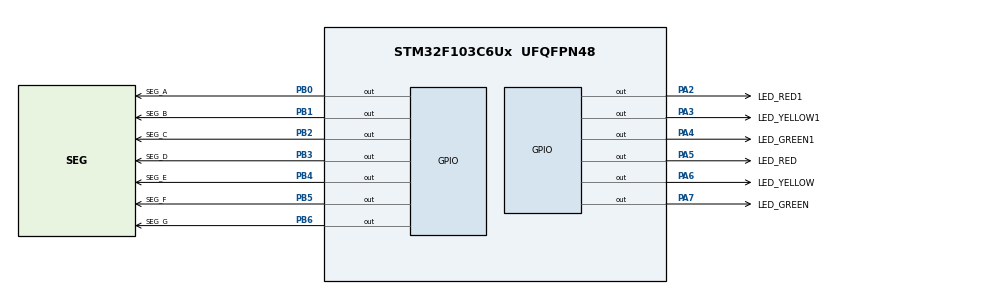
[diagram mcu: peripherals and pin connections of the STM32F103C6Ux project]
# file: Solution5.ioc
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Mcu.Family=STM32F1
Mcu.Name=STM32F103C6Ux
Mcu.Package=UFQFPN48
NVIC.PriorityGroup=NVIC_PRIORITYGROUP_4
PA2.GPIO_Label=LED_RED1
PA2.Signal=GPIO_Output
PA3.GPIO_Label=LED_YELLOW1
PA3.Signal=GPIO_Output
PA4.GPIO_Label=LED_GREEN1
PA4.Signal=GPIO_Output
PA5.GPIO_Label=LED_RED
PA5.Signal=GPIO_Output
PA6.GPIO_Label=LED_YELLOW
PA6.Signal=GPIO_Output
PA7.GPIO_Label=LED_GREEN
PA7.Signal=GPIO_Output
PB0.GPIO_Label=SEG_A
PB0.Signal=GPIO_Output
PB1.GPIO_Label=SEG_B
PB1.Signal=GPIO_Output
PB2.GPIO_Label=SEG_C
PB2.Signal=GPIO_Output
PB3.GPIO_Label=SEG_D
PB3.Signal=GPIO_Output
PB4.GPIO_Label=SEG_E
PB4.Signal=GPIO_Output
PB5.GPIO_Label=SEG_F
PB5.Signal=GPIO_Output
PB6.GPIO_Label=SEG_G
PB6.Signal=GPIO_Output
ProjectManager.HeapSize=0x200
ProjectManager.StackSize=0x400
ProjectManager.TargetToolchain=STM32CubeIDE
RCC.APB1Freq_Value=8000000
RCC.APB2Freq_Value=8000000
VP_SYS_VS_ND.Mode=No_Debug
board=custom

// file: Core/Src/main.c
/* USER CODE BEGIN Header */
/**
  ******************************************************************************
  * @file           : main.c
  * @brief          : Main program body
  ******************************************************************************
  * @attention
  *
  * <h2><center>&copy; Copyright (c) 2022 STMicroelectronics.
  * All rights reserved.</center></h2>
  *
  * This software component is licensed by ST under BSD 3-Clause license,
  * the "License"; You may not use this file except in compliance with the
  * License. You may obtain a copy of the License at:
  *                        opensource.org/licenses/BSD-3-Clause
  *
  ******************************************************************************
  */
/* USER CODE END Header */
#include "main.h"

/* USER CODE BEGIN PD */
#define RED_COUNT 6
#define YELLOW_COUNT 2
#define GREEN_COUNT 3
/* USER CODE END PD */

void SystemClock_Config(void);
static void MX_GPIO_Init(void);
/* USER CODE BEGIN PFP */
void display7SEG(int num);
/* USER CODE END PFP */

int main(void)
{
  /* USER CODE BEGIN 1 */
  int count = 0;
  int led_status = 1;
  /* USER CODE END 1 */

  /* MCU Configuration--------------------------------------------------------*/

  /* Reset of all peripherals, Initializes the Flash interface and the Systick. */
  HAL_Init();

  /* Configure the system clock */
  SystemClock_Config();

  /* Initialize all configured peripherals */
  MX_GPIO_Init();

  /* Infinite loop */
  /* USER CODE BEGIN WHILE */
  while (1)
  {
	if(led_status == 1){ // red led on - off the yellow led
		display7SEG(RED_COUNT - count);
		HAL_GPIO_WritePin(LED_RED_GPIO_Port, LED_RED_Pin, GPIO_PIN_RESET);
	  	HAL_GPIO_WritePin(LED_GREEN_GPIO_Port, LED_GREEN_Pin, GPIO_PIN_SET);
	  	HAL_GPIO_WritePin(LED_YELLOW_GPIO_Port, LED_YELLOW_Pin, GPIO_PIN_SET);
	  	count = count + 1;
	  	if(count <= GREEN_COUNT){
	  		//green of the other road
	  		HAL_GPIO_WritePin(LED_GREEN1_GPIO_Port, LED_GREEN1_Pin, GPIO_PIN_RESET);
	  		HAL_GPIO_WritePin(LED_RED1_GPIO_Port, LED_RED1_Pin, GPIO_PIN_SET);
	  		HAL_GPIO_WritePin(LED_YELLOW1_GPIO_Port, LED_YELLOW1_Pin, GPIO_PIN_SET);
	  	}else if(count <= GREEN_COUNT+YELLOW_COUNT){
	  		//yellow of the other road
	  		HAL_GPIO_WritePin(LED_YELLOW1_GPIO_Port, LED_YELLOW1_Pin, GPIO_PIN_RESET);
	  		HAL_GPIO_WritePin(LED_GREEN1_GPIO_Port, LED_GREEN1_Pin, GPIO_PIN_SET);
	  		HAL_GPIO_WritePin(LED_RED1_GPIO_Port, LED_RED1_Pin, GPIO_PIN_SET);
	  	}else if(count <= RED_COUNT){
	  		HAL_GPIO_WritePin(LED_GREEN1_GPIO_Port, LED_GREEN1_Pin, GPIO_PIN_SET);
	  		HAL_GPIO_WritePin(LED_RED1_GPIO_Port, LED_RED1_Pin, GPIO_PIN_RESET);
	  		HAL_GPIO_WritePin(LED_YELLOW1_GPIO_Port, LED_YELLOW1_Pin, GPIO_PIN_SET);
	  	}
	  	if(count >= RED_COUNT){
	  	  count = 0;
	  	  led_status = 2;
	  	}
	}else if(led_status == 2){ // green led on - off the red led
		display7SEG(GREEN_COUNT - count);
	  	HAL_GPIO_WritePin(LED_GREEN_GPIO_Port, LED_GREEN_Pin, GPIO_PIN_RESET);
	  	HAL_GPIO_WritePin(LED_RED_GPIO_Port, LED_RED_Pin, GPIO_PIN_SET);
	  	HAL_GPIO_WritePin(LED_YELLOW_GPIO_Port, LED_YELLOW_Pin, GPIO_PIN_SET);

	  	//red of the other road
	  	HAL_GPIO_WritePin(LED_RED1_GPIO_Port, LED_RED1_Pin, GPIO_PIN_RESET);
	  	HAL_GPIO_WritePin(LED_GREEN1_GPIO_Port, LED_GREEN1_Pin, GPIO_PIN_SET);
	  	HAL_GPIO_WritePin(LED_YELLOW1_GPIO_Port, LED_YELLOW1_Pin, GPIO_PIN_SET);

	  	count = count + 1;
	  	if(count >= GREEN_COUNT){
	  		count = 0;
	  		led_status = 3;
	  	}
	}else if(led_status == 3){ // yellow led on - off the green led
		display7SEG(YELLOW_COUNT - count);
	  	HAL_GPIO_WritePin(LED_YELLOW_GPIO_Port, LED_YELLOW_Pin, GPIO_PIN_RESET);
	  	HAL_GPIO_WritePin(LED_GREEN_GPIO_Port, LED_GREEN_Pin, GPIO_PIN_SET);
	  	HAL_GPIO_WritePin(LED_RED_GPIO_Port, LED_RED_Pin, GPIO_PIN_SET);

	  	//red of the other road
	  	HAL_GPIO_WritePin(LED_RED1_GPIO_Port, LED_RED1_Pin, GPIO_PIN_RESET);
	  	HAL_GPIO_WritePin(LED_GREEN1_GPIO_Port, LED_GREEN1_Pin, GPIO_PIN_SET);
	  	HAL_GPIO_WritePin(LED_YELLOW1_GPIO_Port, LED_YELLOW1_Pin, GPIO_PIN_SET);

	  	count = count + 1;
	  	if(count >= YELLOW_COUNT){
	  		count = 0;
	  		led_status = 1;
	  	}
	}
	HAL_Delay(1000);
    /* USER CODE END WHILE */

  }
}

void SystemClock_Config(void)
{
  RCC_OscInitTypeDef RCC_OscInitStruct = {0};
  RCC_ClkInitTypeDef RCC_ClkInitStruct = {0};

  /** Initializes the RCC Oscillators according to the specified parameters
  * in the RCC_OscInitTypeDef structure.
  */
  RCC_OscInitStruct.OscillatorType = RCC_OSCILLATORTYPE_HSI;
  RCC_OscInitStruct.HSIState = RCC_HSI_ON;
  RCC_OscInitStruct.HSICalibrationValue = RCC_HSICALIBRATION_DEFAULT;
  RCC_OscInitStruct.PLL.PLLState = RCC_PLL_NONE;
  if (HAL_RCC_OscConfig(&RCC_OscInitStruct) != HAL_OK)
  {
    Error_Handler();
  }
  /** Initializes the CPU, AHB and APB buses clocks
  */
  RCC_ClkInitStruct.ClockType = RCC_CLOCKTYPE_HCLK|RCC_CLOCKTYPE_SYSCLK
                              |RCC_CLOCKTYPE_PCLK1|RCC_CLOCKTYPE_PCLK2;
  RCC_ClkInitStruct.SYSCLKSource = RCC_SYSCLKSOURCE_HSI;
  RCC_ClkInitStruct.AHBCLKDivider = RCC_SYSCLK_DIV1;
  RCC_ClkInitStruct.APB1CLKDivider = RCC_HCLK_DIV1;
  RCC_ClkInitStruct.APB2CLKDivider = RCC_HCLK_DIV1;

  if (HAL_RCC_ClockConfig(&RCC_ClkInitStruct, FLASH_LATENCY_0) != HAL_OK)
  {
    Error_Handler();
  }
}

static void MX_GPIO_Init(void)
{
  GPIO_InitTypeDef GPIO_InitStruct = {0};

  /* GPIO Ports Clock Enable */
  __HAL_RCC_GPIOA_CLK_ENABLE();
  __HAL_RCC_GPIOB_CLK_ENABLE();

  /*Configure GPIO pin Output Level */
  HAL_GPIO_WritePin(GPIOA, LED_RED1_Pin|LED_YELLOW1_Pin|LED_GREEN1_Pin|LED_RED_Pin
                          |LED_YELLOW_Pin|LED_GREEN_Pin, GPIO_PIN_RESET);

  /*Configure GPIO pin Output Level */
  HAL_GPIO_WritePin(GPIOB, SEG_A_Pin|SEG_B_Pin|SEG_C_Pin|SEG_D_Pin
                          |SEG_E_Pin|SEG_F_Pin|SEG_G_Pin, GPIO_PIN_RESET);

  /*Configure GPIO pins : LED_RED1_Pin LED_YELLOW1_Pin LED_GREEN1_Pin LED_RED_Pin
                           LED_YELLOW_Pin LED_GREEN_Pin */
  GPIO_InitStruct.Pin = LED_RED1_Pin|LED_YELLOW1_Pin|LED_GREEN1_Pin|LED_RED_Pin
                          |LED_YELLOW_Pin|LED_GREEN_Pin;
  GPIO_InitStruct.Mode = GPIO_MODE_OUTPUT_PP;
  GPIO_InitStruct.Pull = GPIO_NOPULL;
  GPIO_InitStruct.Speed = GPIO_SPEED_FREQ_LOW;
  HAL_GPIO_Init(GPIOA, &GPIO_InitStruct);

  /*Configure GPIO pins : SEG_A_Pin SEG_B_Pin SEG_C_Pin SEG_D_Pin
                           SEG_E_Pin SEG_F_Pin SEG_G_Pin */
  GPIO_InitStruct.Pin = SEG_A_Pin|SEG_B_Pin|SEG_C_Pin|SEG_D_Pin
                          |SEG_E_Pin|SEG_F_Pin|SEG_G_Pin;
  GPIO_InitStruct.Mode = GPIO_MODE_OUTPUT_PP;
  GPIO_InitStruct.Pull = GPIO_NOPULL;
  GPIO_InitStruct.Speed = GPIO_SPEED_FREQ_LOW;
  HAL_GPIO_Init(GPIOB, &GPIO_InitStruct);

}

/* USER CODE BEGIN 4 */

void display7SEG(int num){
	if(num == 0) {
		HAL_GPIO_WritePin(SEG_A_GPIO_Port, SEG_A_Pin, GPIO_PIN_RESET);
		HAL_GPIO_WritePin(SEG_B_GPIO_Port, SEG_B_Pin, GPIO_PIN_RESET);
		HAL_GPIO_WritePin(SEG_C_GPIO_Port, SEG_C_Pin, GPIO_PIN_RESET);
		HAL_GPIO_WritePin(SEG_D_GPIO_Port, SEG_D_Pin, GPIO_PIN_RESET);
		HAL_GPIO_WritePin(SEG_E_GPIO_Port, SEG_E_Pin, GPIO_PIN_RESET);
		HAL_GPIO_WritePin(SEG_F_GPIO_Port, SEG_F_Pin, GPIO_PIN_RESET);
		HAL_GPIO_WritePin(SEG_G_GPIO_Port, SEG_G_Pin, GPIO_PIN_SET);
	}
	if(num == 1) {
		HAL_GPIO_WritePin(SEG_A_GPIO_Port, SEG_A_Pin, GPIO_PIN_SET);
		HAL_GPIO_WritePin(SEG_B_GPIO_Port, SEG_B_Pin, GPIO_PIN_RESET);
		HAL_GPIO_WritePin(SEG_C_GPIO_Port, SEG_C_Pin, GPIO_PIN_RESET);
		HAL_GPIO_WritePin(SEG_D_GPIO_Port, SEG_D_Pin, GPIO_PIN_SET);
		HAL_GPIO_WritePin(SEG_E_GPIO_Port, SEG_E_Pin, GPIO_PIN_SET);
		HAL_GPIO_WritePin(SEG_F_GPIO_Port, SEG_F_Pin, GPIO_PIN_SET);
		HAL_GPIO_WritePin(SEG_G_GPIO_Port, SEG_G_Pin, GPIO_PIN_SET);
	}
	if(num == 2) {
		HAL_GPIO_WritePin(SEG_A_GPIO_Port, SEG_A_Pin, GPIO_PIN_RESET);
		HAL_GPIO_WritePin(SEG_B_GPIO_Port, SEG_B_Pin, GPIO_PIN_RESET);
		HAL_GPIO_WritePin(SEG_C_GPIO_Port, SEG_C_Pin, GPIO_PIN_SET);
		HAL_GPIO_WritePin(SEG_D_GPIO_Port, SEG_D_Pin, GPIO_PIN_RESET);
		HAL_GPIO_WritePin(SEG_E_GPIO_Port, SEG_E_Pin, GPIO_PIN_RESET);
		HAL_GPIO_WritePin(SEG_F_GPIO_Port, SEG_F_Pin, GPIO_PIN_SET);
		HAL_GPIO_WritePin(SEG_G_GPIO_Port, SEG_G_Pin, GPIO_PIN_RESET);
	}
	if(num == 3) {
		HAL_GPIO_WritePin(SEG_A_GPIO_Port, SEG_A_Pin, GPIO_PIN_RESET);
		HAL_GPIO_WritePin(SEG_B_GPIO_Port, SEG_B_Pin, GPIO_PIN_RESET);
		HAL_GPIO_WritePin(SEG_C_GPIO_Port, SEG_C_Pin, GPIO_PIN_RESET);
		HAL_GPIO_WritePin(SEG_D_GPIO_Port, SEG_D_Pin, GPIO_PIN_RESET);
		HAL_GPIO_WritePin(SEG_E_GPIO_Port, SEG_E_Pin, GPIO_PIN_SET);
		HAL_GPIO_WritePin(SEG_F_GPIO_Port, SEG_F_Pin, GPIO_PIN_SET);
		HAL_GPIO_WritePin(SEG_G_GPIO_Port, SEG_G_Pin, GPIO_PIN_RESET);
	}
	if(num == 4) {
		HAL_GPIO_WritePin(SEG_A_GPIO_Port, SEG_A_Pin, GPIO_PIN_SET);
		HAL_GPIO_WritePin(SEG_B_GPIO_Port, SEG_B_Pin, GPIO_PIN_RESET);
		HAL_GPIO_WritePin(SEG_C_GPIO_Port, SEG_C_Pin, GPIO_PIN_RESET);
		HAL_GPIO_WritePin(SEG_D_GPIO_Port, SEG_D_Pin, GPIO_PIN_SET);
		HAL_GPIO_WritePin(SEG_E_GPIO_Port, SEG_E_Pin, GPIO_PIN_SET);
		HAL_GPIO_WritePin(SEG_F_GPIO_Port, SEG_F_Pin, GPIO_PIN_RESET);
		HAL_GPIO_WritePin(SEG_G_GPIO_Port, SEG_G_Pin, GPIO_PIN_RESET);
	}
	if(num == 5) {
		HAL_GPIO_WritePin(SEG_A_GPIO_Port, SEG_A_Pin, GPIO_PIN_RESET);
		HAL_GPIO_WritePin(SEG_B_GPIO_Port, SEG_B_Pin, GPIO_PIN_SET);
		HAL_GPIO_WritePin(SEG_C_GPIO_Port, SEG_C_Pin, GPIO_PIN_RESET);
		HAL_GPIO_WritePin(SEG_D_GPIO_Port, SEG_D_Pin, GPIO_PIN_RESET);
		HAL_GPIO_WritePin(SEG_E_GPIO_Port, SEG_E_Pin, GPIO_PIN_SET);
		HAL_GPIO_WritePin(SEG_F_GPIO_Port, SEG_F_Pin, GPIO_PIN_RESET);
		HAL_GPIO_WritePin(SEG_G_GPIO_Port, SEG_G_Pin, GPIO_PIN_RESET);
	}
	if(num == 6) {
		HAL_GPIO_WritePin(SEG_A_GPIO_Port, SEG_A_Pin, GPIO_PIN_RESET);
		HAL_GPIO_WritePin(SEG_B_GPIO_Port, SEG_B_Pin, GPIO_PIN_SET);
		HAL_GPIO_WritePin(SEG_C_GPIO_Port, SEG_C_Pin, GPIO_PIN_RESET);
		HAL_GPIO_WritePin(SEG_D_GPIO_Port, SEG_D_Pin, GPIO_PIN_RESET);
		HAL_GPIO_WritePin(SEG_E_GPIO_Port, SEG_E_Pin, GPIO_PIN_RESET);
		HAL_GPIO_WritePin(SEG_F_GPIO_Port, SEG_F_Pin, GPIO_PIN_RESET);
		HAL_GPIO_WritePin(SEG_G_GPIO_Port, SEG_G_Pin, GPIO_PIN_RESET);
	}
	if(num == 7) {
		HAL_GPIO_WritePin(SEG_A_GPIO_Port, SEG_A_Pin, GPIO_PIN_RESET);
		HAL_GPIO_WritePin(SEG_B_GPIO_Port, SEG_B_Pin, GPIO_PIN_RESET);
		HAL_GPIO_WritePin(SEG_C_GPIO_Port, SEG_C_Pin, GPIO_PIN_RESET);
		HAL_GPIO_WritePin(SEG_D_GPIO_Port, SEG_D_Pin, GPIO_PIN_SET);
		HAL_GPIO_WritePin(SEG_E_GPIO_Port, SEG_E_Pin, GPIO_PIN_SET);
		HAL_GPIO_WritePin(SEG_F_GPIO_Port, SEG_F_Pin, GPIO_PIN_SET);
		HAL_GPIO_WritePin(SEG_G_GPIO_Port, SEG_G_Pin, GPIO_PIN_SET);
	}
	if(num == 8) {
		HAL_GPIO_WritePin(SEG_A_GPIO_Port, SEG_A_Pin, GPIO_PIN_RESET);
		HAL_GPIO_WritePin(SEG_B_GPIO_Port, SEG_B_Pin, GPIO_PIN_RESET);
		HAL_GPIO_WritePin(SEG_C_GPIO_Port, SEG_C_Pin, GPIO_PIN_RESET);
		HAL_GPIO_WritePin(SEG_D_GPIO_Port, SEG_D_Pin, GPIO_PIN_RESET);
		HAL_GPIO_WritePin(SEG_E_GPIO_Port, SEG_E_Pin, GPIO_PIN_RESET);
		HAL_GPIO_WritePin(SEG_F_GPIO_Port, SEG_F_Pin, GPIO_PIN_RESET);
		HAL_GPIO_WritePin(SEG_G_GPIO_Port, SEG_G_Pin, GPIO_PIN_RESET);
	}
	if(num == 9) {
		HAL_GPIO_WritePin(SEG_A_GPIO_Port, SEG_A_Pin, GPIO_PIN_RESET);
		HAL_GPIO_WritePin(SEG_B_GPIO_Port, SEG_B_Pin, GPIO_PIN_RESET);
		HAL_GPIO_WritePin(SEG_C_GPIO_Port, SEG_C_Pin, GPIO_PIN_RESET);
		HAL_GPIO_WritePin(SEG_D_GPIO_Port, SEG_D_Pin, GPIO_PIN_RESET);
		HAL_GPIO_WritePin(SEG_E_GPIO_Port, SEG_E_Pin, GPIO_PIN_SET);
		HAL_GPIO_WritePin(SEG_F_GPIO_Port, SEG_F_Pin, GPIO_PIN_RESET);
		HAL_GPIO_WritePin(SEG_G_GPIO_Port, SEG_G_Pin, GPIO_PIN_RESET);
	}
}

/* USER CODE END 4 */

void Error_Handler(void)
{
  __disable_irq();
  while (1)
  {
  }
}

/************************ (C) COPYRIGHT STMicroelectronics *****END OF FILE****/
